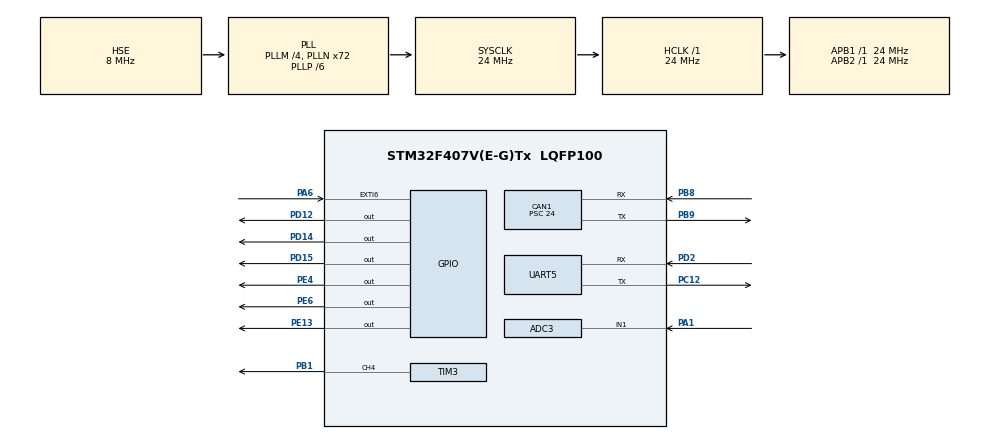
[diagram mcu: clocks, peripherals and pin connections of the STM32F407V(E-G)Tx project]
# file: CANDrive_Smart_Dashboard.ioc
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ADC3.Channel-0\#ChannelRegularConversion=ADC_CHANNEL_1
ADC3.ClockPrescaler=ADC_CLOCK_SYNC_PCLK_DIV8
ADC3.NbrOfConversionFlag=1
ADC3.Rank-0\#ChannelRegularConversion=1
ADC3.Resolution=ADC_RESOLUTION_8B
ADC3.SamplingTime-0\#ChannelRegularConversion=ADC_SAMPLETIME_480CYCLES
ADC3.ScanConvMode=ENABLE
CAN1.BS1=CAN_BS1_13TQ
CAN1.BS2=CAN_BS2_2TQ
CAN1.CalculateBaudRate=62500
CAN1.CalculateTimeBit=16000
CAN1.CalculateTimeQuantum=1000.0
CAN1.Prescaler=24
Mcu.Family=STM32F4
Mcu.Name=STM32F407V(E-G)Tx
Mcu.Package=LQFP100
NVIC.CAN1_RX0_IRQn=true\:7\:0\:true\:false\:true\:true\:true\:true
NVIC.EXTI9_5_IRQn=true\:8\:0\:true\:false\:true\:true\:true\:true
NVIC.PriorityGroup=NVIC_PRIORITYGROUP_4
NVIC.TIM1_UP_TIM10_IRQn=true\:15\:0\:false\:false\:true\:false\:true\:true
NVIC.TIM2_IRQn=true\:6\:0\:true\:false\:true\:true\:true\:true
NVIC.TimeBase=TIM1_UP_TIM10_IRQn
NVIC.TimeBaseIP=TIM1
NVIC.UART5_IRQn=true\:9\:0\:true\:false\:true\:true\:true\:true
PA1.Signal=ADCx_IN1
PA6.GPIO_ModeDefaultEXTI=GPIO_MODE_IT_RISING
PA6.Signal=GPXTI6
PB1.Signal=S_TIM3_CH4
PB8.Mode=CAN_Activate
PB8.Signal=CAN1_RX
PB9.Mode=CAN_Activate
PB9.Signal=CAN1_TX
PC12.Mode=Asynchronous
PC12.Signal=UART5_TX
PD12.Signal=GPIO_Output
PD14.Signal=GPIO_Output
PD15.Signal=GPIO_Output
PD2.Mode=Asynchronous
PD2.Signal=UART5_RX
PE13.Signal=GPIO_Output
PE4.Signal=GPIO_Output
PE6.Signal=GPIO_Output
PH0-OSC_IN.Mode=HSE-External-Oscillator
PH0-OSC_IN.Signal=RCC_OSC_IN
PH1-OSC_OUT.Mode=HSE-External-Oscillator
PH1-OSC_OUT.Signal=RCC_OSC_OUT
ProjectManager.HeapSize=0x200
ProjectManager.StackSize=0x400
ProjectManager.TargetToolchain=STM32CubeIDE
RCC.48MHZClocksFreq_Value=36000000
RCC.AHBFreq_Value=24000000
RCC.APB1Freq_Value=24000000
RCC.APB1TimFreq_Value=24000000
RCC.APB2Freq_Value=24000000
RCC.APB2TimFreq_Value=24000000
RCC.CortexFreq_Value=24000000
RCC.HCLKFreq_Value=24000000
RCC.HSE_VALUE=8000000
RCC.HSI_VALUE=16000000
RCC.LSE_VALUE=32768
RCC.PLLM=4
RCC.PLLN=72
RCC.PLLP=RCC_PLLP_DIV6
RCC.PLLSourceVirtual=RCC_PLLSOURCE_HSE
RCC.SYSCLKFreq_VALUE=24000000
RCC.SYSCLKSource=RCC_SYSCLKSOURCE_PLLCLK
RCC.VCOOutputFreq_Value=144000000
SH.ADCx_IN1.0=ADC3_IN1,IN1
SH.S_TIM3_CH4.0=TIM3_CH4,PWM Generation4 CH4
TIM2.Period=1000
TIM2.Prescaler=24000
TIM3.AutoReloadPreload=TIM_AUTORELOAD_PRELOAD_ENABLE
TIM3.Channel-PWM\ Generation4\ CH4=TIM_CHANNEL_4
TIM3.Period=100-1
TIM3.Prescaler=24000-1
TIM3.TIM_MasterOutputTrigger=TIM_TRGO_UPDATE
UART5.VirtualMode=Asynchronous
VP_SYS_VS_tim1.Mode=TIM1
VP_TIM2_VS_ClockSourceINT.Mode=Internal
VP_TIM3_VS_ClockSourceINT.Mode=Internal
board=custom

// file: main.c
/* USER CODE BEGIN Header */
/**
  ******************************************************************************
  * @file           : main.c
  * @brief          : Main program body
  ******************************************************************************
  * @attention
  *
  * Copyright (c) 2025 STMicroelectronics.
  * All rights reserved.
  *
  * This software is licensed under terms that can be found in the LICENSE file
  * in the root directory of this software component.
  * If no LICENSE file comes with this software, it is provided AS-IS.
  *
  ******************************************************************************
  */
/* USER CODE END Header */
#include "main.h"

/* USER CODE BEGIN Includes */
#include "FreeRTOS.h"
#include "task.h"
#include "timers.h"
#include "semphr.h"
#include "queue.h"
#include "event_groups.h"
#include "SEGGER_SYSVIEW.h"
/* USER CODE END Includes */

/* USER CODE BEGIN PD */
#define STACK_SIZE				128	//words
#define WHEEL_CIRCUMFERENCE		10	//centimeters
#define SPEED_CALC_INTERVAL		2	//seconds
/* USER CODE END PD */

ADC_HandleTypeDef hadc3;

CAN_HandleTypeDef hcan1;

TIM_HandleTypeDef htim2;
TIM_HandleTypeDef htim3;

UART_HandleTypeDef huart5;

/* USER CODE BEGIN PV */
int tasksCreated = 0;
uint32_t time_in_sec;

volatile uint8_t speed, recalibrate = 1;
volatile uint16_t distance, wheel_revolution_cnt;

CAN_RxHeaderTypeDef RxHeader;	//CAN Data Frame header fields
uint8_t RxData[2];				//Data received from CAN Node 2
uint8_t TxData[5];				//Payload for ESP

QueueHandle_t CANRxQueue;
SemaphoreHandle_t xCaptureSemaphore;
/* USER CODE END PV */

void SystemClock_Config(void);
static void MX_GPIO_Init(void);
static void MX_TIM2_Init(void);
static void MX_TIM3_Init(void);
static void MX_ADC3_Init(void);
static void MX_CAN1_Init(void);
static void MX_UART5_Init(void);
/* USER CODE BEGIN PFP */

void peripheral_start();

void Calculate_Speed(void * argument);
void Process_Speed_Knob(void * argument);
void Prepare_Payload_For_Esp(void * argument);
void Transmit_Packet_To_Esp(void * argument);

static void CAN_filterConfig (void);
/* USER CODE END PFP */

int main(void)
{

  /* MCU Configuration--------------------------------------------------------*/

  /* Reset of all peripherals, Initializes the Flash interface and the Systick. */
  HAL_Init();

  /* Configure the system clock */
  SystemClock_Config();

  /* Initialize all configured peripherals */
  MX_GPIO_Init();
  MX_TIM2_Init();
  MX_TIM3_Init();
  MX_ADC3_Init();
  MX_CAN1_Init();
  MX_UART5_Init();
  /* USER CODE BEGIN 2 */

  SEGGER_SYSVIEW_Conf();
  HAL_NVIC_SetPriorityGrouping(NVIC_PRIORITYGROUP_4);	//ensure proper priority grouping for freeRTOS

  xTaskCreate(Calculate_Speed, "calc_speed", STACK_SIZE, NULL, tskIDLE_PRIORITY+3, NULL);
  xTaskCreate(Process_Speed_Knob, "calc_pot", STACK_SIZE, NULL, tskIDLE_PRIORITY+4, NULL);
  xTaskCreate(Prepare_Payload_For_Esp, "prepare_pkt", STACK_SIZE, NULL, tskIDLE_PRIORITY+2, NULL);
  xTaskCreate(Transmit_Packet_To_Esp, "tx_esp_pkt", STACK_SIZE, NULL, tskIDLE_PRIORITY+1, NULL);

//  tasksCreated = uxTaskGetNumberOfTasks();
  xCaptureSemaphore = xSemaphoreCreateBinary();
  CANRxQueue = xQueueCreate(1, sizeof(RxData));

  peripheral_start();

  vTaskStartScheduler();
  /* USER CODE END 2 */

  /* Infinite loop */
  while (1)
  {

  }
}

void SystemClock_Config(void)
{
  RCC_OscInitTypeDef RCC_OscInitStruct = {0};
  RCC_ClkInitTypeDef RCC_ClkInitStruct = {0};

  /** Configure the main internal regulator output voltage
  */
  __HAL_RCC_PWR_CLK_ENABLE();
  __HAL_PWR_VOLTAGESCALING_CONFIG(PWR_REGULATOR_VOLTAGE_SCALE1);

  /** Initializes the RCC Oscillators according to the specified parameters
  * in the RCC_OscInitTypeDef structure.
  */
  RCC_OscInitStruct.OscillatorType = RCC_OSCILLATORTYPE_HSE;
  RCC_OscInitStruct.HSEState = RCC_HSE_ON;
  RCC_OscInitStruct.PLL.PLLState = RCC_PLL_ON;
  RCC_OscInitStruct.PLL.PLLSource = RCC_PLLSOURCE_HSE;
  RCC_OscInitStruct.PLL.PLLM = 4;
  RCC_OscInitStruct.PLL.PLLN = 72;
  RCC_OscInitStruct.PLL.PLLP = RCC_PLLP_DIV6;
  RCC_OscInitStruct.PLL.PLLQ = 4;
  if (HAL_RCC_OscConfig(&RCC_OscInitStruct) != HAL_OK)
  {
    Error_Handler();
  }

  /** Initializes the CPU, AHB and APB buses clocks
  */
  RCC_ClkInitStruct.ClockType = RCC_CLOCKTYPE_HCLK|RCC_CLOCKTYPE_SYSCLK
                              |RCC_CLOCKTYPE_PCLK1|RCC_CLOCKTYPE_PCLK2;
  RCC_ClkInitStruct.SYSCLKSource = RCC_SYSCLKSOURCE_PLLCLK;
  RCC_ClkInitStruct.AHBCLKDivider = RCC_SYSCLK_DIV1;
  RCC_ClkInitStruct.APB1CLKDivider = RCC_HCLK_DIV1;
  RCC_ClkInitStruct.APB2CLKDivider = RCC_HCLK_DIV1;

  if (HAL_RCC_ClockConfig(&RCC_ClkInitStruct, FLASH_LATENCY_0) != HAL_OK)
  {
    Error_Handler();
  }
}

static void MX_ADC3_Init(void)
{

  ADC_ChannelConfTypeDef sConfig = {0};

  /** Configure the global features of the ADC (Clock, Resolution, Data Alignment and number of conversion)
  */
  hadc3.Instance = ADC3;
  hadc3.Init.ClockPrescaler = ADC_CLOCK_SYNC_PCLK_DIV8;
  hadc3.Init.Resolution = ADC_RESOLUTION_8B;
  hadc3.Init.ScanConvMode = ENABLE;
  hadc3.Init.ContinuousConvMode = DISABLE;
  hadc3.Init.DiscontinuousConvMode = DISABLE;
  hadc3.Init.ExternalTrigConvEdge = ADC_EXTERNALTRIGCONVEDGE_NONE;
  hadc3.Init.ExternalTrigConv = ADC_SOFTWARE_START;
  hadc3.Init.DataAlign = ADC_DATAALIGN_RIGHT;
  hadc3.Init.NbrOfConversion = 1;
  hadc3.Init.DMAContinuousRequests = DISABLE;
  hadc3.Init.EOCSelection = ADC_EOC_SINGLE_CONV;
  if (HAL_ADC_Init(&hadc3) != HAL_OK)
  {
    Error_Handler();
  }

  /** Configure for the selected ADC regular channel its corresponding rank in the sequencer and its sample time.
  */
  sConfig.Channel = ADC_CHANNEL_1;
  sConfig.Rank = 1;
  sConfig.SamplingTime = ADC_SAMPLETIME_480CYCLES;
  if (HAL_ADC_ConfigChannel(&hadc3, &sConfig) != HAL_OK)
  {
    Error_Handler();
  }

}

static void MX_CAN1_Init(void)
{

  hcan1.Instance = CAN1;
  hcan1.Init.Prescaler = 24;
  hcan1.Init.Mode = CAN_MODE_NORMAL;
  hcan1.Init.SyncJumpWidth = CAN_SJW_1TQ;
  hcan1.Init.TimeSeg1 = CAN_BS1_13TQ;
  hcan1.Init.TimeSeg2 = CAN_BS2_2TQ;
  hcan1.Init.TimeTriggeredMode = DISABLE;
  hcan1.Init.AutoBusOff = DISABLE;
  hcan1.Init.AutoWakeUp = DISABLE;
  hcan1.Init.AutoRetransmission = DISABLE;
  hcan1.Init.ReceiveFifoLocked = DISABLE;
  hcan1.Init.TransmitFifoPriority = DISABLE;
  if (HAL_CAN_Init(&hcan1) != HAL_OK)
  {
    Error_Handler();
  }

}

static void MX_TIM2_Init(void)
{

  TIM_ClockConfigTypeDef sClockSourceConfig = {0};
  TIM_MasterConfigTypeDef sMasterConfig = {0};

  htim2.Instance = TIM2;
  htim2.Init.Prescaler = 24000;
  htim2.Init.CounterMode = TIM_COUNTERMODE_UP;
  htim2.Init.Period = 1000;
  htim2.Init.ClockDivision = TIM_CLOCKDIVISION_DIV1;
  htim2.Init.AutoReloadPreload = TIM_AUTORELOAD_PRELOAD_DISABLE;
  if (HAL_TIM_Base_Init(&htim2) != HAL_OK)
  {
    Error_Handler();
  }
  sClockSourceConfig.ClockSource = TIM_CLOCKSOURCE_INTERNAL;
  if (HAL_TIM_ConfigClockSource(&htim2, &sClockSourceConfig) != HAL_OK)
  {
    Error_Handler();
  }
  sMasterConfig.MasterOutputTrigger = TIM_TRGO_RESET;
  sMasterConfig.MasterSlaveMode = TIM_MASTERSLAVEMODE_DISABLE;
  if (HAL_TIMEx_MasterConfigSynchronization(&htim2, &sMasterConfig) != HAL_OK)
  {
    Error_Handler();
  }

}

static void MX_TIM3_Init(void)
{

  TIM_ClockConfigTypeDef sClockSourceConfig = {0};
  TIM_MasterConfigTypeDef sMasterConfig = {0};
  TIM_OC_InitTypeDef sConfigOC = {0};

  htim3.Instance = TIM3;
  htim3.Init.Prescaler = 24000-1;
  htim3.Init.CounterMode = TIM_COUNTERMODE_UP;
  htim3.Init.Period = 100-1;
  htim3.Init.ClockDivision = TIM_CLOCKDIVISION_DIV1;
  htim3.Init.AutoReloadPreload = TIM_AUTORELOAD_PRELOAD_ENABLE;
  if (HAL_TIM_Base_Init(&htim3) != HAL_OK)
  {
    Error_Handler();
  }
  sClockSourceConfig.ClockSource = TIM_CLOCKSOURCE_INTERNAL;
  if (HAL_TIM_ConfigClockSource(&htim3, &sClockSourceConfig) != HAL_OK)
  {
    Error_Handler();
  }
  if (HAL_TIM_PWM_Init(&htim3) != HAL_OK)
  {
    Error_Handler();
  }
  sMasterConfig.MasterOutputTrigger = TIM_TRGO_UPDATE;
  sMasterConfig.MasterSlaveMode = TIM_MASTERSLAVEMODE_DISABLE;
  if (HAL_TIMEx_MasterConfigSynchronization(&htim3, &sMasterConfig) != HAL_OK)
  {
    Error_Handler();
  }
  sConfigOC.OCMode = TIM_OCMODE_PWM1;
  sConfigOC.Pulse = 0;
  sConfigOC.OCPolarity = TIM_OCPOLARITY_HIGH;
  sConfigOC.OCFastMode = TIM_OCFAST_DISABLE;
  if (HAL_TIM_PWM_ConfigChannel(&htim3, &sConfigOC, TIM_CHANNEL_4) != HAL_OK)
  {
    Error_Handler();
  }
  HAL_TIM_MspPostInit(&htim3);

}

static void MX_UART5_Init(void)
{

  huart5.Instance = UART5;
  huart5.Init.BaudRate = 115200;
  huart5.Init.WordLength = UART_WORDLENGTH_8B;
  huart5.Init.StopBits = UART_STOPBITS_1;
  huart5.Init.Parity = UART_PARITY_NONE;
  huart5.Init.Mode = UART_MODE_TX_RX;
  huart5.Init.HwFlowCtl = UART_HWCONTROL_NONE;
  huart5.Init.OverSampling = UART_OVERSAMPLING_16;
  if (HAL_UART_Init(&huart5) != HAL_OK)
  {
    Error_Handler();
  }

}

static void MX_GPIO_Init(void)
{
  GPIO_InitTypeDef GPIO_InitStruct = {0};

  /* GPIO Ports Clock Enable */
  __HAL_RCC_GPIOE_CLK_ENABLE();
  __HAL_RCC_GPIOH_CLK_ENABLE();
  __HAL_RCC_GPIOA_CLK_ENABLE();
  __HAL_RCC_GPIOB_CLK_ENABLE();
  __HAL_RCC_GPIOD_CLK_ENABLE();
  __HAL_RCC_GPIOC_CLK_ENABLE();

  /*Configure GPIO pin Output Level */
  HAL_GPIO_WritePin(GPIOE, GPIO_PIN_4|GPIO_PIN_6|GPIO_PIN_13, GPIO_PIN_RESET);

  /*Configure GPIO pin Output Level */
  HAL_GPIO_WritePin(GPIOD, GPIO_PIN_12|GPIO_PIN_14|GPIO_PIN_15, GPIO_PIN_RESET);

  /*Configure GPIO pins : PE4 PE6 PE13 */
  GPIO_InitStruct.Pin = GPIO_PIN_4|GPIO_PIN_6|GPIO_PIN_13;
  GPIO_InitStruct.Mode = GPIO_MODE_OUTPUT_PP;
  GPIO_InitStruct.Pull = GPIO_NOPULL;
  GPIO_InitStruct.Speed = GPIO_SPEED_FREQ_LOW;
  HAL_GPIO_Init(GPIOE, &GPIO_InitStruct);

  /*Configure GPIO pin : PA6 */
  GPIO_InitStruct.Pin = GPIO_PIN_6;
  GPIO_InitStruct.Mode = GPIO_MODE_IT_RISING;
  GPIO_InitStruct.Pull = GPIO_NOPULL;
  HAL_GPIO_Init(GPIOA, &GPIO_InitStruct);

  /*Configure GPIO pins : PD12 PD14 PD15 */
  GPIO_InitStruct.Pin = GPIO_PIN_12|GPIO_PIN_14|GPIO_PIN_15;
  GPIO_InitStruct.Mode = GPIO_MODE_OUTPUT_PP;
  GPIO_InitStruct.Pull = GPIO_NOPULL;
  GPIO_InitStruct.Speed = GPIO_SPEED_FREQ_LOW;
  HAL_GPIO_Init(GPIOD, &GPIO_InitStruct);

  /* EXTI interrupt init*/
  HAL_NVIC_SetPriority(EXTI9_5_IRQn, 8, 0);
  HAL_NVIC_EnableIRQ(EXTI9_5_IRQn);

}

/* USER CODE BEGIN 4 */
void peripheral_start()
{
	//motor direction forward
	HAL_GPIO_WritePin(GPIOE, GPIO_PIN_4, GPIO_PIN_SET);
	HAL_GPIO_WritePin(GPIOE, GPIO_PIN_6, GPIO_PIN_RESET);
}

//ir sensor callback
void HAL_GPIO_EXTI_Callback(uint16_t GPIO_Pin)
{
	static uint32_t prev_IT_occurence = 0;
	uint32_t curr_IT_occurence = HAL_GetTick();

	//software de-bouncing IR signals
	if(curr_IT_occurence - prev_IT_occurence > 150)
	{
        //__atomic_fetch_add(&wheel_revolution_cnt, 1, __ATOMIC_SEQ_CST);  // Atomic increment
		wheel_revolution_cnt++;
		prev_IT_occurence = curr_IT_occurence;
	}
}

void HAL_CAN_RxFifo0MsgPendingCallback(CAN_HandleTypeDef *hcan)
{
	if(HAL_CAN_GetRxFifoFillLevel(&hcan1, CAN_RX_FIFO0) == 0)
	{
		Error_Handler();
	}

	//Get the message using HAL_CAN_GetRxMessage
	if(HAL_CAN_GetRxMessage(&hcan1, CAN_RX_FIFO0, &RxHeader, RxData) != HAL_OK)
	{
		Error_Handler();
	}

	HAL_CAN_ActivateNotification(&hcan1, CAN_IT_RX_FIFO0_MSG_PENDING);

	BaseType_t xHigherPriorityTaskWoken = pdFALSE;
	xQueueSendFromISR(CANRxQueue, RxData, &xHigherPriorityTaskWoken);
	portYIELD_FROM_ISR(xHigherPriorityTaskWoken);
}

void HAL_UART_TxCpltCallback(UART_HandleTypeDef *huart)
{
	//packet transmitted to esp32 successfully, toggle blue led
	HAL_GPIO_TogglePin(GPIOD, GPIO_PIN_15);
	HAL_GPIO_WritePin(GPIOE, GPIO_PIN_13, RESET);
}

static void CAN_filterConfig (void)
{
  CAN_FilterTypeDef  sFilterConfig;
  sFilterConfig.FilterBank = 0;
  sFilterConfig.FilterMode = CAN_FILTERMODE_IDMASK;
  sFilterConfig.FilterScale = CAN_FILTERSCALE_32BIT;
  sFilterConfig.FilterIdHigh = 0x000 <<5;
  sFilterConfig.FilterIdLow = 0x0000;
  sFilterConfig.FilterMaskIdHigh = 0x0000; //0xFFE0
  sFilterConfig.FilterMaskIdLow = 0x0000;
  sFilterConfig.FilterFIFOAssignment = CAN_RX_FIFO0;
  sFilterConfig.FilterActivation = ENABLE;
  //sFilterConfig.SlaveStartFilterBank = 14;	//only single CAN used, can be ignored

  if(HAL_CAN_ConfigFilter(&hcan1, &sFilterConfig) != HAL_OK)
  {
    /* Filter configuration Error */
    Error_Handler();
  }
}

/*
 * stores the revolution count for speed and distance
 * measurement and resets the revolution count for upcoming cycle
 */
void Calculate_Speed(void * argument)
{
	HAL_TIM_Base_Start_IT(&htim2);
	HAL_TIM_PWM_Start(&htim3, TIM_CHANNEL_4);

	while(1)
	{
		SEGGER_SYSVIEW_PrintfHost("calculate_speed task entry\r\n");
		if (xSemaphoreTake(xCaptureSemaphore, portMAX_DELAY) == pdTRUE)
		{
			if(recalibrate)
			{
				//entering critical section to update speed, distance, revolution_count
				taskENTER_CRITICAL();
				speed = (wheel_revolution_cnt * WHEEL_CIRCUMFERENCE) / SPEED_CALC_INTERVAL;
				distance += (speed * SPEED_CALC_INTERVAL);
				wheel_revolution_cnt = 0;
				recalibrate = 0;
				taskEXIT_CRITICAL();
			}
		}
		SEGGER_SYSVIEW_PrintfHost("calculate_speed task exit\r\n");
		vTaskDelay(pdMS_TO_TICKS(1000));
	}
}

/*
 * reads the potentiometer output and change the duty cycle
 * of PWM timer(TIM2) for speed change
 */
void Process_Speed_Knob(void * argument)
{
	static uint16_t prev_pot_val = 0;
	uint16_t pot_val;
	uint32_t duty_cycle;
	while(1)
	{
		SEGGER_SYSVIEW_PrintfHost("process_speed_knob task entry\r\n");
		//capture the adc value of potentiometer
		HAL_ADC_Start(&hadc3);
		pot_val = HAL_ADC_GetValue(&hadc3);

		if(prev_pot_val != pot_val)
		{
			duty_cycle = (100 * pot_val) / 255;
			__HAL_TIM_SET_COMPARE(&htim3, TIM_CHANNEL_4, duty_cycle);
		}
		prev_pot_val = pot_val;
		SEGGER_SYSVIEW_PrintfHost("process_speed_knob task exit\r\n");

		//repeat after every 500 ms
		vTaskDelay(pdMS_TO_TICKS(1000));
	}
}

void Prepare_Payload_For_Esp(void * argument)
{
	uint8_t receivedMsg[2];
	CAN_filterConfig();		//CAN filter configuration
	HAL_CAN_ActivateNotification(&hcan1, CAN_IT_RX_FIFO0_MSG_PENDING);	//for interrupts

	if (HAL_CAN_Start(&hcan1) != HAL_OK)
	{
		/* Start Error */
		Error_Handler();
	}

	while(1)
	{
		SEGGER_SYSVIEW_PrintfHost("prepare_payload task entry\r\n");
        if (xQueueReceive(CANRxQueue, receivedMsg, portMAX_DELAY) != pdPASS)
        {
        	HAL_GPIO_WritePin(GPIOD, GPIO_PIN_14, GPIO_PIN_SET);
        	vTaskDelay(pdMS_TO_TICKS(1000));	//wait for 1 seconds
        	continue;		//restart the loop
        	//Error_Handler();
        }
        else
        {
        	HAL_GPIO_WritePin(GPIOD, GPIO_PIN_14, GPIO_PIN_RESET);
        	HAL_GPIO_TogglePin(GPIOD, GPIO_PIN_12);
        }

		TxData[0] = speed;
		TxData[1] = distance >> 8;		//MSB
		TxData[2] = distance & 0xFF;	//LSB
		TxData[3] = receivedMsg[0];
		TxData[4] = receivedMsg[1];		//door status is lsbit
//		TxData[5] = current & 0xFF;		//LSB
//		TxData[6] = voltage >> 8;		//MSB
//		TxData[7] = voltage & 0xFF;		//LSB

		SEGGER_SYSVIEW_PrintfHost("prepare_payload task exit\r\n");
	}
}

void Transmit_Packet_To_Esp(void * argument)
{
	while(1)
	{
		HAL_GPIO_WritePin(GPIOE, GPIO_PIN_13, SET);
		HAL_UART_Transmit_IT(&huart5, TxData, (uint16_t)sizeof(TxData));
		vTaskDelay(pdMS_TO_TICKS(1000));
	}
}
/* USER CODE END 4 */

void HAL_TIM_PeriodElapsedCallback(TIM_HandleTypeDef *htim)
{
  if (htim->Instance == TIM1) {
    HAL_IncTick();
  }
  /* USER CODE BEGIN Callback 1 */
  BaseType_t xHigherPriorityTaskWoken = pdFALSE;
  if(htim->Instance == TIM2)
  {
	  time_in_sec++;
	  if(time_in_sec % SPEED_CALC_INTERVAL == 0)
	  {
		  recalibrate = 1;
	  }

	  if(xSemaphoreGiveFromISR(xCaptureSemaphore, &xHigherPriorityTaskWoken) == pdTRUE)
	  {
		  portYIELD_FROM_ISR(xHigherPriorityTaskWoken);
	  }
  }
  /* USER CODE END Callback 1 */
}

void Error_Handler(void)
{
  /* USER CODE BEGIN Error_Handler_Debug */
  /* User can add his own implementation to report the HAL error return state */
  __disable_irq();
  while (1)
  {
	  HAL_GPIO_WritePin(GPIOD, GPIO_PIN_14, GPIO_PIN_SET);
  }
  /* USER CODE END Error_Handler_Debug */
}

#ifdef  USE_FULL_ASSERT
/**
  * @brief  Reports the name of the source file and the source line number
  *         where the assert_param error has occurred.
  * @param  file: pointer to the source file name
  * @param  line: assert_param error line source number
  * @retval None
  */
void assert_failed(uint8_t *file, uint32_t line)
{
  /* USER CODE BEGIN 6 */
	SEGGER_SYSVIEW_PrintfHost("Assertion Failed:file %s on line %d\r\n", file, line);
	while(1);
  /* USER CODE END 6 */
}
#endif /* USE_FULL_ASSERT */
